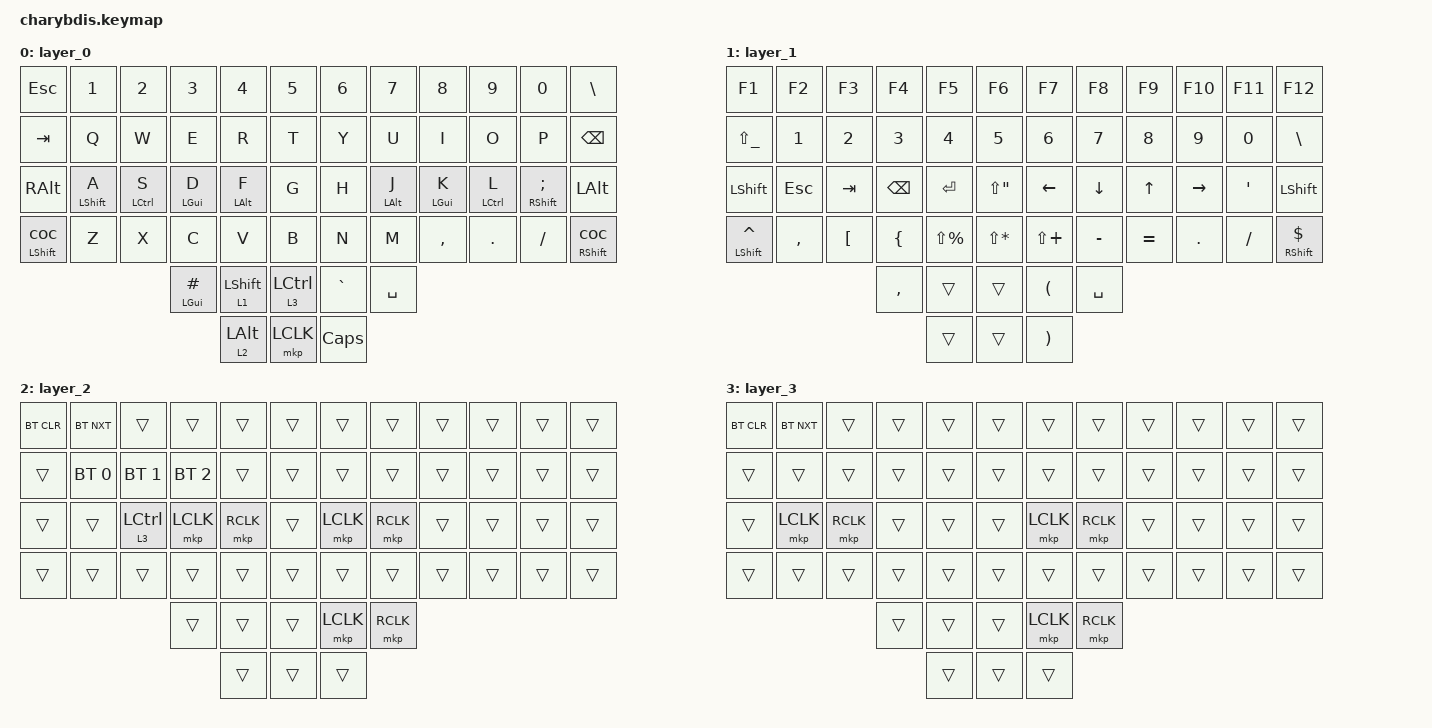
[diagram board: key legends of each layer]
#include <dt-bindings/zmk/mouse.h>
#include <behaviors.dtsi>
#include <dt-bindings/zmk/bt.h>
#include <dt-bindings/zmk/keys.h>
#include <dt-bindings/zmk/pointing.h>

&lt {
    tapping-term-ms = <250>;
    flavor = "tap-preferred";
    quick-tap-ms = <150>;
    bindings = <&mo>, <&sk>;
};

&mt {
    tapping-term-ms = <300>;
    quick-tap-ms = <150>;
    flavor = "tap-preferred";
};

/ {
    macros {
        coc: coc {
            compatible = "zmk,behavior-macro";
            #binding-cells = <0>;
            bindings = <&sk LEFT_GUI &sk LEFT_SHIFT &sk LEFT_ALT>;
            label = "COC";
        };
    };

    behaviors {
        shiftorcoc: shiftorcoc {
            compatible = "zmk,behavior-hold-tap";
            label = "SHIFTORCOC";
            bindings = <&kp>, <&coc>;

            #binding-cells = <2>;
            tapping-term-ms = <300>;
        };

        homerow: homerow {
            compatible = "zmk,behavior-hold-tap";
            label = "HOMEROW";
            bindings = <&kp>, <&kp>;

            #binding-cells = <2>;
            tapping-term-ms = <500>;
            quick-tap-ms = <300>;
        };
    };

    keymap {
        compatible = "zmk,keymap";

        layer_0 {
            bindings = <
&kp ESC                   &kp N1            &kp N2       &kp N3                  &kp N4            &kp N5                &kp N6        &kp N7          &kp N8          &kp N9       &kp N0                     &kp BACKSLASH
&kp TAB                   &kp Q             &kp W        &kp E                   &kp R             &kp T                 &kp Y         &kp U           &kp I           &kp O        &kp P                      &kp BACKSPACE
&kp RALT                  &mt LEFT_SHIFT A  &mt LCTRL S  &mt LEFT_GUI D          &mt LEFT_ALT F    &kp G                 &kp H         &mt LEFT_ALT J  &mt LEFT_GUI K  &mt LCTRL L  &mt RIGHT_SHIFT SEMICOLON  &kp LEFT_ALT
&shiftorcoc LEFT_SHIFT 0  &kp Z             &kp X        &kp C                   &kp V             &kp B                 &kp N         &kp M           &kp COMMA       &kp DOT      &kp FSLH                   &shiftorcoc RIGHT_SHIFT 0
                                                         &homerow LEFT_GUI HASH  &lt 1 LEFT_SHIFT  &lt 3 LEFT_CONTROL    &kp GRAVE     &kp SPACE
                                                                                 &lt 2 LEFT_ALT    &mkp LCLK             &kp CAPSLOCK
            >;

            trackball-bindings = <&tmv_coarse>;
        };

        layer_1 {
            bindings = <
&kp F1                &kp F2     &kp F3            &kp F4          &kp F5         &kp F6          &kp F7                 &kp F8     &kp F9     &kp F10     &kp F11   &kp F12
&kp LS(UNDERSCORE)    &kp N1     &kp N2            &kp N3          &kp N4         &kp N5          &kp N6                 &kp N7     &kp N8     &kp N9      &kp N0    &kp BSLH
&kp LSHFT             &kp ESC    &kp TAB           &kp BSPC        &kp RET        &kp LS(DQT)     &kp LEFT               &kp DOWN   &kp UP     &kp RIGHT   &kp SQT   &kp LEFT_SHIFT
&mt LEFT_SHIFT CARET  &kp COMMA  &kp LEFT_BRACKET  &kp LEFT_BRACE  &kp LS(PRCNT)  &kp LS(STAR)    &kp LS(PLUS)           &kp MINUS  &kp EQUAL  &kp PERIOD  &kp FSLH  &mt RIGHT_SHIFT DOLLAR
                                                   &kp COMMA       &trans         &trans          &kp LEFT_PARENTHESIS   &kp SPACE
                                                                   &trans         &trans          &kp RIGHT_PARENTHESIS
            >;

            trackball-bindings = <&tmv_coarse>;
        };

        layer_2 {
            bindings = <
&bt BT_CLR  &bt BT_NXT    &trans              &trans        &trans     &trans    &trans     &trans     &trans  &trans  &trans  &trans
&trans      &bt BT_SEL 0  &bt BT_SEL 1        &bt BT_SEL 2  &trans     &trans    &trans     &trans     &trans  &trans  &trans  &trans
&trans      &trans        &lt 3 LEFT_CONTROL  &mkp LCLK     &mkp RCLK  &trans    &mkp LCLK  &mkp RCLK  &trans  &trans  &trans  &trans
&trans      &trans        &trans              &trans        &trans     &trans    &trans     &trans     &trans  &trans  &trans  &trans
                                              &trans        &trans     &trans    &mkp LCLK  &mkp RCLK
                                                            &trans     &trans    &trans
            >;

            trackball-bindings = <&tmv_coarse>;
        };

        layer_3 {
            bindings = <
&bt BT_CLR  &bt BT_NXT  &trans     &trans  &trans  &trans    &trans     &trans     &trans  &trans  &trans  &trans
&trans      &trans      &trans     &trans  &trans  &trans    &trans     &trans     &trans  &trans  &trans  &trans
&trans      &mkp LCLK   &mkp RCLK  &trans  &trans  &trans    &mkp LCLK  &mkp RCLK  &trans  &trans  &trans  &trans
&trans      &trans      &trans     &trans  &trans  &trans    &trans     &trans     &trans  &trans  &trans  &trans
                                   &trans  &trans  &trans    &mkp LCLK  &mkp RCLK
                                           &trans  &trans    &trans
            >;

            trackball-bindings = <&tsl>;
        };

        /* layer_4 {
            bindings = <
&trans  &trans  &trans     &trans     &trans     &trans       &trans     &trans     &trans     &trans     &trans  &trans
&trans  &trans  &trans     &trans     &trans     &trans       &trans     &trans     &trans     &trans     &trans  &trans
&trans  &trans  &trans     &mkp MCLK  &trans     &trans       &trans     &trans     &mkp MCLK  &trans     &trans  &trans
&trans  &trans  &mkp RCLK  &trans     &mkp LCLK  &trans       &trans     &mkp LCLK  &trans     &mkp RCLK  &trans  &trans
                           &trans     &mkp LCLK  &mkp RCLK    &mkp RCLK  &mkp LCLK
                                      &trans     &trans       &trans
            >;
                
                
                trackball-bindings = <&tsl>;
        };

        layer_5 {
            bindings = <
&trans  &trans  &trans     &trans     &trans     &trans       &trans     &trans     &trans     &trans     &trans  &trans
&trans  &trans  &trans     &trans     &trans     &trans       &trans     &trans     &trans     &trans     &trans  &trans
&trans  &trans  &trans     &mkp MCLK  &trans     &trans       &trans     &trans     &mkp MCLK  &trans     &trans  &trans
&trans  &trans  &mkp RCLK  &trans     &mkp LCLK  &trans       &trans     &mkp LCLK  &trans     &mkp RCLK  &trans  &trans
                           &trans     &mkp LCLK  &mkp RCLK    &mkp RCLK  &mkp LCLK
                                      &trans     &trans       &trans
            >;
                trackball-bindings = <&tmv_fine>;
                
        };*/
    };
};
